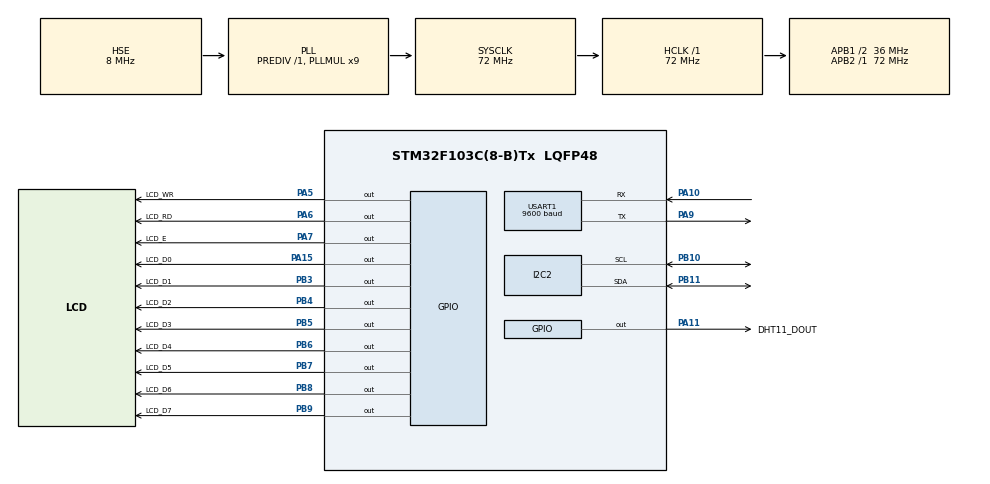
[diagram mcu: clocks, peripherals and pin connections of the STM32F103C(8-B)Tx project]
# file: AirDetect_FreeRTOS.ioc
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FREERTOS.Queues01=Queue_BMP280_data,2,uint32_t,0,Dynamic,NULL,NULL;Queue_DHT11_data,2,uint8_t,0,Dynamic,NULL,NULL
FREERTOS.Tasks01=defaultTask,24,128,StartDefaultTask,Default,NULL,Dynamic,NULL,NULL;Task_lcdshow,8,128,Entry_lcd_show,Default,NULL,Dynamic,NULL,NULL;Task_getBMP280,8,128,Entry_getBMP280,Default,NULL,Dynamic,NULL,NULL;Task_getDHT11,8,128,Entry_getDHT11,Default,NULL,Dynamic,NULL,NULL
Mcu.Family=STM32F1
Mcu.Name=STM32F103C(8-B)Tx
Mcu.Package=LQFP48
NVIC.PriorityGroup=NVIC_PRIORITYGROUP_4
NVIC.TIM1_UP_IRQn=true\:0\:0\:false\:false\:true\:false\:false\:true
NVIC.TIM2_IRQn=true\:0\:0\:false\:false\:true\:false\:true\:true
NVIC.TimeBase=TIM1_UP_IRQn
NVIC.TimeBaseIP=TIM1
NVIC.USART1_IRQn=true\:0\:0\:false\:false\:true\:false\:true\:true
PA10.Mode=Asynchronous
PA10.Signal=USART1_RX
PA11.GPIO_Label=DHT11_DOUT
PA11.GPIO_ModeDefaultOutputPP=GPIO_MODE_OUTPUT_OD
PA11.Signal=GPIO_Output
PA13.Mode=Serial_Wire
PA13.Signal=SYS_JTMS-SWDIO
PA14.Mode=Serial_Wire
PA14.Signal=SYS_JTCK-SWCLK
PA15.GPIO_Label=LCD_D0
PA15.Signal=GPIO_Output
PA5.GPIO_Label=LCD_WR
PA5.Signal=GPIO_Output
PA6.GPIO_Label=LCD_RD
PA6.Signal=GPIO_Output
PA7.GPIO_Label=LCD_E
PA7.Signal=GPIO_Output
PA9.Mode=Asynchronous
PA9.Signal=USART1_TX
PB10.Mode=I2C
PB10.Signal=I2C2_SCL
PB11.Mode=I2C
PB11.Signal=I2C2_SDA
PB3.GPIO_Label=LCD_D1
PB3.Signal=GPIO_Output
PB4.GPIO_Label=LCD_D2
PB4.Signal=GPIO_Output
PB5.GPIO_Label=LCD_D3
PB5.Signal=GPIO_Output
PB6.GPIO_Label=LCD_D4
PB6.Signal=GPIO_Output
PB7.GPIO_Label=LCD_D5
PB7.Signal=GPIO_Output
PB8.GPIO_Label=LCD_D6
PB8.Signal=GPIO_Output
PB9.GPIO_Label=LCD_D7
PB9.Signal=GPIO_Output
PD0-OSC_IN.Mode=HSE-External-Oscillator
PD0-OSC_IN.Signal=RCC_OSC_IN
PD1-OSC_OUT.Mode=HSE-External-Oscillator
PD1-OSC_OUT.Signal=RCC_OSC_OUT
ProjectManager.HeapSize=0x200
ProjectManager.StackSize=0x400
ProjectManager.TargetToolchain=STM32CubeIDE
RCC.AHBFreq_Value=72000000
RCC.APB1CLKDivider=RCC_HCLK_DIV2
RCC.APB1Freq_Value=36000000
RCC.APB1TimFreq_Value=72000000
RCC.APB2Freq_Value=72000000
RCC.APB2TimFreq_Value=72000000
RCC.HCLKFreq_Value=72000000
RCC.PLLMUL=RCC_PLL_MUL9
RCC.PLLSourceVirtual=RCC_PLLSOURCE_HSE
RCC.SYSCLKFreq_VALUE=72000000
RCC.SYSCLKSource=RCC_SYSCLKSOURCE_PLLCLK
RCC.USBFreq_Value=72000000
USART1.BaudRate=9600
USART1.VirtualMode=VM_ASYNC
VP_FREERTOS_VS_CMSIS_V2.Mode=CMSIS_V2
VP_SYS_VS_tim1.Mode=TIM1
VP_TIM2_VS_ClockSourceINT.Mode=Internal
board=custom

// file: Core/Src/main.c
/* USER CODE BEGIN Header */
/**
  ******************************************************************************
  * @file           : main.c
  * @brief          : Main program body
  ******************************************************************************
  * @attention
  *
  * <h2><center>&copy; Copyright (c) 2020 STMicroelectronics.
  * All rights reserved.</center></h2>
  *
  * This software component is licensed by ST under BSD 3-Clause license,
  * the "License"; You may not use this file except in compliance with the
  * License. You may obtain a copy of the License at:
  *                        opensource.org/licenses/BSD-3-Clause
  *
  ******************************************************************************
  */
/* USER CODE END Header */
#include "main.h"
#include "cmsis_os.h"

I2C_HandleTypeDef hi2c2;

TIM_HandleTypeDef htim2;

UART_HandleTypeDef huart1;

/* Definitions for defaultTask */
osThreadId_t defaultTaskHandle;
const osThreadAttr_t defaultTask_attributes = {
  .name = "defaultTask",
  .priority = (osPriority_t) osPriorityNormal,
  .stack_size = 128 * 4
};
/* Definitions for Task_lcdshow */
osThreadId_t Task_lcdshowHandle;
const osThreadAttr_t Task_lcdshow_attributes = {
  .name = "Task_lcdshow",
  .priority = (osPriority_t) osPriorityLow,
  .stack_size = 128 * 4
};
/* Definitions for Task_getBMP280 */
osThreadId_t Task_getBMP280Handle;
const osThreadAttr_t Task_getBMP280_attributes = {
  .name = "Task_getBMP280",
  .priority = (osPriority_t) osPriorityLow,
  .stack_size = 128 * 4
};
/* Definitions for Task_getDHT11 */
osThreadId_t Task_getDHT11Handle;
const osThreadAttr_t Task_getDHT11_attributes = {
  .name = "Task_getDHT11",
  .priority = (osPriority_t) osPriorityLow,
  .stack_size = 128 * 4
};
/* Definitions for Queue_BMP280_data */
osMessageQueueId_t Queue_BMP280_dataHandle;
const osMessageQueueAttr_t Queue_BMP280_data_attributes = {
  .name = "Queue_BMP280_data"
};
/* Definitions for Queue_DHT11_data */
osMessageQueueId_t Queue_DHT11_dataHandle;
const osMessageQueueAttr_t Queue_DHT11_data_attributes = {
  .name = "Queue_DHT11_data"
};
/* USER CODE BEGIN PV */
extern uint8_t dht11_data[5];
extern uint16_t gy30_data;
/* USER CODE END PV */

void SystemClock_Config(void);
static void MX_GPIO_Init(void);
static void MX_I2C2_Init(void);
static void MX_TIM2_Init(void);
static void MX_USART1_UART_Init(void);
void StartDefaultTask(void *argument);
void Entry_lcd_show(void *argument);
void Entry_getBMP280(void *argument);
void Entry_getDHT11(void *argument);

int main(void)
{

  /* MCU Configuration--------------------------------------------------------*/

  /* Reset of all peripherals, Initializes the Flash interface and the Systick. */
  HAL_Init();

  /* Configure the system clock */
  SystemClock_Config();

  /* Initialize all configured peripherals */
  MX_GPIO_Init();
  MX_I2C2_Init();
  MX_TIM2_Init();
  MX_USART1_UART_Init();
  /* USER CODE BEGIN 2 */

  lcd_init();
	BMP280_SETTINGS bmp280={
	  		.powermode=POWER_MODE_NORMAL,
	  		.oversampling_temp=OVERSAMPLING_x1,
	  		.oversampling_press=OVERSAMPLING_x4,
	  		.standy_time=STANDBY_TIME_005,
	  		.filter_coefficient=FILTER_MODE_4,
	  		.spi3w=SPI3W_DISABLE,
	};
	BMP280_init(bmp280);
  /* USER CODE END 2 */

  /* Init scheduler */
  osKernelInitialize();

  /* Create the queue(s) */
  /* creation of Queue_BMP280_data */
  Queue_BMP280_dataHandle = osMessageQueueNew (1,2 * sizeof(uint32_t), &Queue_BMP280_data_attributes);

  /* creation of Queue_DHT11_data */
  Queue_DHT11_dataHandle = osMessageQueueNew (1,2 * sizeof(uint8_t), &Queue_DHT11_data_attributes);

  /* Create the thread(s) */
  /* creation of defaultTask */
  defaultTaskHandle = osThreadNew(StartDefaultTask, NULL, &defaultTask_attributes);

  /* creation of Task_lcdshow */
  Task_lcdshowHandle = osThreadNew(Entry_lcd_show, NULL, &Task_lcdshow_attributes);

  /* creation of Task_getBMP280 */
  Task_getBMP280Handle = osThreadNew(Entry_getBMP280, NULL, &Task_getBMP280_attributes);

  /* creation of Task_getDHT11 */
  Task_getDHT11Handle = osThreadNew(Entry_getDHT11, NULL, &Task_getDHT11_attributes);

  /* Start scheduler */
  osKernelStart();

  /* We should never get here as control is now taken by the scheduler */
  /* Infinite loop */
  while (1)
  {

  }
}

void SystemClock_Config(void)
{
  RCC_OscInitTypeDef RCC_OscInitStruct = {0};
  RCC_ClkInitTypeDef RCC_ClkInitStruct = {0};

  /** Initializes the RCC Oscillators according to the specified parameters
  * in the RCC_OscInitTypeDef structure.
  */
  RCC_OscInitStruct.OscillatorType = RCC_OSCILLATORTYPE_HSE;
  RCC_OscInitStruct.HSEState = RCC_HSE_ON;
  RCC_OscInitStruct.HSEPredivValue = RCC_HSE_PREDIV_DIV1;
  RCC_OscInitStruct.HSIState = RCC_HSI_ON;
  RCC_OscInitStruct.PLL.PLLState = RCC_PLL_ON;
  RCC_OscInitStruct.PLL.PLLSource = RCC_PLLSOURCE_HSE;
  RCC_OscInitStruct.PLL.PLLMUL = RCC_PLL_MUL9;
  if (HAL_RCC_OscConfig(&RCC_OscInitStruct) != HAL_OK)
  {
    Error_Handler();
  }
  /** Initializes the CPU, AHB and APB buses clocks
  */
  RCC_ClkInitStruct.ClockType = RCC_CLOCKTYPE_HCLK|RCC_CLOCKTYPE_SYSCLK
                              |RCC_CLOCKTYPE_PCLK1|RCC_CLOCKTYPE_PCLK2;
  RCC_ClkInitStruct.SYSCLKSource = RCC_SYSCLKSOURCE_PLLCLK;
  RCC_ClkInitStruct.AHBCLKDivider = RCC_SYSCLK_DIV1;
  RCC_ClkInitStruct.APB1CLKDivider = RCC_HCLK_DIV2;
  RCC_ClkInitStruct.APB2CLKDivider = RCC_HCLK_DIV1;

  if (HAL_RCC_ClockConfig(&RCC_ClkInitStruct, FLASH_LATENCY_2) != HAL_OK)
  {
    Error_Handler();
  }
}

static void MX_I2C2_Init(void)
{

  hi2c2.Instance = I2C2;
  hi2c2.Init.ClockSpeed = 100000;
  hi2c2.Init.DutyCycle = I2C_DUTYCYCLE_2;
  hi2c2.Init.OwnAddress1 = 0;
  hi2c2.Init.AddressingMode = I2C_ADDRESSINGMODE_7BIT;
  hi2c2.Init.DualAddressMode = I2C_DUALADDRESS_DISABLE;
  hi2c2.Init.OwnAddress2 = 0;
  hi2c2.Init.GeneralCallMode = I2C_GENERALCALL_DISABLE;
  hi2c2.Init.NoStretchMode = I2C_NOSTRETCH_DISABLE;
  if (HAL_I2C_Init(&hi2c2) != HAL_OK)
  {
    Error_Handler();
  }

}

static void MX_TIM2_Init(void)
{

  TIM_ClockConfigTypeDef sClockSourceConfig = {0};
  TIM_MasterConfigTypeDef sMasterConfig = {0};

  htim2.Instance = TIM2;
  htim2.Init.Prescaler = 0;
  htim2.Init.CounterMode = TIM_COUNTERMODE_UP;
  htim2.Init.Period = 65535;
  htim2.Init.ClockDivision = TIM_CLOCKDIVISION_DIV1;
  htim2.Init.AutoReloadPreload = TIM_AUTORELOAD_PRELOAD_DISABLE;
  if (HAL_TIM_Base_Init(&htim2) != HAL_OK)
  {
    Error_Handler();
  }
  sClockSourceConfig.ClockSource = TIM_CLOCKSOURCE_INTERNAL;
  if (HAL_TIM_ConfigClockSource(&htim2, &sClockSourceConfig) != HAL_OK)
  {
    Error_Handler();
  }
  sMasterConfig.MasterOutputTrigger = TIM_TRGO_RESET;
  sMasterConfig.MasterSlaveMode = TIM_MASTERSLAVEMODE_DISABLE;
  if (HAL_TIMEx_MasterConfigSynchronization(&htim2, &sMasterConfig) != HAL_OK)
  {
    Error_Handler();
  }

}

static void MX_USART1_UART_Init(void)
{

  huart1.Instance = USART1;
  huart1.Init.BaudRate = 9600;
  huart1.Init.WordLength = UART_WORDLENGTH_8B;
  huart1.Init.StopBits = UART_STOPBITS_1;
  huart1.Init.Parity = UART_PARITY_NONE;
  huart1.Init.Mode = UART_MODE_TX_RX;
  huart1.Init.HwFlowCtl = UART_HWCONTROL_NONE;
  huart1.Init.OverSampling = UART_OVERSAMPLING_16;
  if (HAL_UART_Init(&huart1) != HAL_OK)
  {
    Error_Handler();
  }

}

static void MX_GPIO_Init(void)
{
  GPIO_InitTypeDef GPIO_InitStruct = {0};

  /* GPIO Ports Clock Enable */
  __HAL_RCC_GPIOD_CLK_ENABLE();
  __HAL_RCC_GPIOA_CLK_ENABLE();
  __HAL_RCC_GPIOB_CLK_ENABLE();

  /*Configure GPIO pin Output Level */
  HAL_GPIO_WritePin(GPIOA, LCD_WR_Pin|LCD_RD_Pin|LCD_E_Pin|DHT11_DOUT_Pin
                          |LCD_D0_Pin, GPIO_PIN_RESET);

  /*Configure GPIO pin Output Level */
  HAL_GPIO_WritePin(GPIOB, LCD_D1_Pin|LCD_D2_Pin|LCD_D3_Pin|LCD_D4_Pin
                          |LCD_D5_Pin|LCD_D6_Pin|LCD_D7_Pin, GPIO_PIN_RESET);

  /*Configure GPIO pins : LCD_WR_Pin LCD_RD_Pin LCD_E_Pin LCD_D0_Pin */
  GPIO_InitStruct.Pin = LCD_WR_Pin|LCD_RD_Pin|LCD_E_Pin|LCD_D0_Pin;
  GPIO_InitStruct.Mode = GPIO_MODE_OUTPUT_PP;
  GPIO_InitStruct.Pull = GPIO_NOPULL;
  GPIO_InitStruct.Speed = GPIO_SPEED_FREQ_LOW;
  HAL_GPIO_Init(GPIOA, &GPIO_InitStruct);

  /*Configure GPIO pin : DHT11_DOUT_Pin */
  GPIO_InitStruct.Pin = DHT11_DOUT_Pin;
  GPIO_InitStruct.Mode = GPIO_MODE_OUTPUT_OD;
  GPIO_InitStruct.Pull = GPIO_NOPULL;
  GPIO_InitStruct.Speed = GPIO_SPEED_FREQ_LOW;
  HAL_GPIO_Init(DHT11_DOUT_GPIO_Port, &GPIO_InitStruct);

  /*Configure GPIO pins : LCD_D1_Pin LCD_D2_Pin LCD_D3_Pin LCD_D4_Pin
                           LCD_D5_Pin LCD_D6_Pin LCD_D7_Pin */
  GPIO_InitStruct.Pin = LCD_D1_Pin|LCD_D2_Pin|LCD_D3_Pin|LCD_D4_Pin
                          |LCD_D5_Pin|LCD_D6_Pin|LCD_D7_Pin;
  GPIO_InitStruct.Mode = GPIO_MODE_OUTPUT_PP;
  GPIO_InitStruct.Pull = GPIO_NOPULL;
  GPIO_InitStruct.Speed = GPIO_SPEED_FREQ_LOW;
  HAL_GPIO_Init(GPIOB, &GPIO_InitStruct);

}

void StartDefaultTask(void *argument)
{
  for(;;)
  {
    osDelay(1);
  }
}

void Entry_lcd_show(void *argument)
{
  /* USER CODE BEGIN Entry_lcd_show */
	  uint32_t bmp280_receiveData[2]={
			  0,0,
	  };
	  uint8_t dht11_receiveData[2]={
			  0,0,
	  };
  /* Infinite loop */
  for(;;)
  {
	  lcd_writeCom(0x80);

	  osMessageQueueGet(Queue_BMP280_dataHandle, bmp280_receiveData, NULL, 0xFF);
	  lcd_show_bmp280_temp(bmp280_receiveData[0]);
	  lcd_writeCom(0x80|0x40);
	  lcd_show_bmp280_press(bmp280_receiveData[1]);

	  osMessageQueueGet(Queue_DHT11_dataHandle, dht11_receiveData, NULL, 0xFF);
	  lcd_writeCom(0x80+8);
	  lcd_show_dht11(dht11_receiveData);

    osDelay(1);
  }
  /* USER CODE END Entry_lcd_show */
}

void Entry_getBMP280(void *argument)
{
  /* USER CODE BEGIN Entry_getBMP280 */
	  uint32_t bmp280_sendData[2]={
			  0,0,
	  };
  /* Infinite loop */
  for(;;)
  {
	  getDig_T();
	  getDig_P();

	  bmp280_sendData[0]=bmp280_compensate_T_int32(BMP280_temp_read());
	  bmp280_sendData[1]=bmp280_compensate_P_int32(BMP280_press_read());

	  osMessageQueuePut(Queue_BMP280_dataHandle,bmp280_sendData, 0, 0xFF);
    osDelay(1);
  }
  /* USER CODE END Entry_getBMP280 */
}

void Entry_getDHT11(void *argument)
{
  /* USER CODE BEGIN Entry_getDHT11 */
	uint8_t dht11_sendData[2]={
			0,0,
	};
  /* Infinite loop */
  for(;;)
  {
	  DHT11_read();

	  dht11_sendData[0]=dht11_data[0];
	  dht11_sendData[1]=dht11_data[1];

	  osMessageQueuePut(Queue_DHT11_dataHandle, dht11_sendData, 0, 0xFF);
    osDelay(1);
  }
  /* USER CODE END Entry_getDHT11 */
}

void HAL_TIM_PeriodElapsedCallback(TIM_HandleTypeDef *htim)
{
  if (htim->Instance == TIM1) {
    HAL_IncTick();
  }
}

void Error_Handler(void)
{
}

/************************ (C) COPYRIGHT STMicroelectronics *****END OF FILE****/
